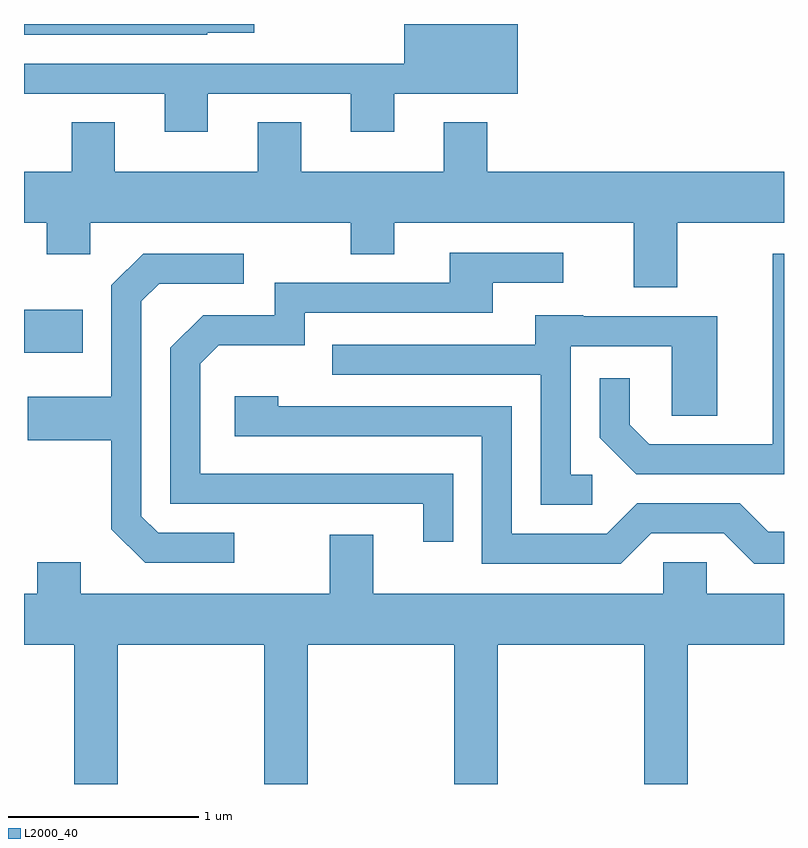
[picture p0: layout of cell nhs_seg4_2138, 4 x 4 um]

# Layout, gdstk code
import gdstk
lib = gdstk.Library(unit=1e-6, precision=1e-09)
def R(c, l, rs):  # rectangles x0, y0, x1, y1
    for r in rs: c.add(gdstk.rectangle(r[:2], r[2:], *l))
def P(c, l, *ps):  # polygons
    for p in ps: c.add(gdstk.Polygon(p, *l))
L2000_40 = (2000, 40)

nhs_seg4_2138 = lib.new_cell('nhs_seg4_2138')
R(nhs_seg4_2138, L2000_40, [(247.611,1316.251,247.919,1316.479)])
P(nhs_seg4_2138, L2000_40, [(248.575,1317.936),(248.824,1317.936),(248.824,1317.982),(247.611,1317.982),(247.611,1317.926),(248.575,1317.926)],
  [(248.579,1317.616),(249.331,1317.616),(249.331,1317.416),(249.559,1317.416),(249.559,1317.616),(250.209,1317.616),(250.209,1317.982),(249.611,1317.982),(249.611,1317.774),(247.611,1317.774),(247.611,1317.616),(248.351,1317.616),(248.351,1317.416),(248.579,1317.416)],
  [(247.861,1317.464),(247.861,1317.204),(247.611,1317.204),(247.611,1316.936),(247.731,1316.936),(247.731,1316.771),(247.959,1316.771),(247.959,1316.936),(249.331,1316.936),(249.331,1316.771),(249.559,1316.771),(249.559,1316.936),(250.821,1316.936),(250.821,1316.596),(251.049,1316.596),(251.049,1316.936),(251.611,1316.936),(251.611,1317.204),(250.049,1317.204),(250.049,1317.464),(249.821,1317.464),(249.821,1317.204),(249.069,1317.204),(249.069,1317.464),(248.841,1317.464),(248.841,1317.204),(248.089,1317.204),(248.089,1317.464)],
  [(249.869,1315.614),(248.539,1315.614),(248.539,1316.194),(248.637,1316.291),(249.089,1316.291),(249.089,1316.461),(250.079,1316.461),(250.079,1316.621),(250.448,1316.621),(250.448,1316.779),(249.851,1316.779),(249.851,1316.619),(248.931,1316.619),(248.931,1316.449),(248.554,1316.449),(248.381,1316.277),(248.381,1315.456),(249.711,1315.456),(249.711,1315.258),(249.869,1315.258)],
  [(251.611,1316.774),(251.551,1316.774),(251.551,1315.769),(250.902,1315.769),(250.799,1315.872),(250.799,1316.118),(250.641,1316.118),(250.641,1315.804),(250.834,1315.611),(251.611,1315.611)],
  [(248.718,1315.304),(248.317,1315.304),(248.229,1315.392),(248.229,1316.524),(248.322,1316.616),(248.768,1316.616),(248.768,1316.774),(248.239,1316.774),(248.071,1316.607),(248.071,1316.019),(247.631,1316.019),(247.631,1315.791),(248.071,1315.791),(248.071,1315.324),(248.249,1315.146),(248.718,1315.146)],
  [(250.603,1315.609),(250.489,1315.609),(250.489,1316.286),(251.021,1316.286),(251.021,1315.921),(251.259,1315.921),(251.259,1316.444),(250.555,1316.444),(250.555,1316.449),(250.301,1316.449),(250.301,1316.294),(249.233,1316.294),(249.233,1316.136),(250.331,1316.136),(250.331,1315.451),(250.603,1315.451)],
  [(250.912,1315.301),(251.294,1315.301),(251.454,1315.141),(251.611,1315.141),(251.611,1315.309),(251.527,1315.309),(251.377,1315.459),(250.839,1315.459),(250.679,1315.299),(250.179,1315.299),(250.179,1315.969),(248.949,1315.969),(248.949,1316.024),(248.721,1316.024),(248.721,1315.811),(250.021,1315.811),(250.021,1315.141),(250.752,1315.141)],
  [(248.104,1314.716),(248.876,1314.716),(248.876,1313.982),(249.104,1313.982),(249.104,1314.716),(249.876,1314.716),(249.876,1313.982),(250.104,1313.982),(250.104,1314.716),(250.876,1314.716),(250.876,1313.982),(251.104,1313.982),(251.104,1314.716),(251.611,1314.716),(251.611,1314.984),(251.204,1314.984),(251.204,1315.149),(250.976,1315.149),(250.976,1314.984),(249.449,1314.984),(249.449,1315.294),(249.221,1315.294),(249.221,1314.984),(247.909,1314.984),(247.909,1315.149),(247.681,1315.149),(247.681,1314.984),(247.611,1314.984),(247.611,1314.716),(247.876,1314.716),(247.876,1313.982),(248.104,1313.982)])

lib.write_gds('nhs_seg4_2138.gds')
